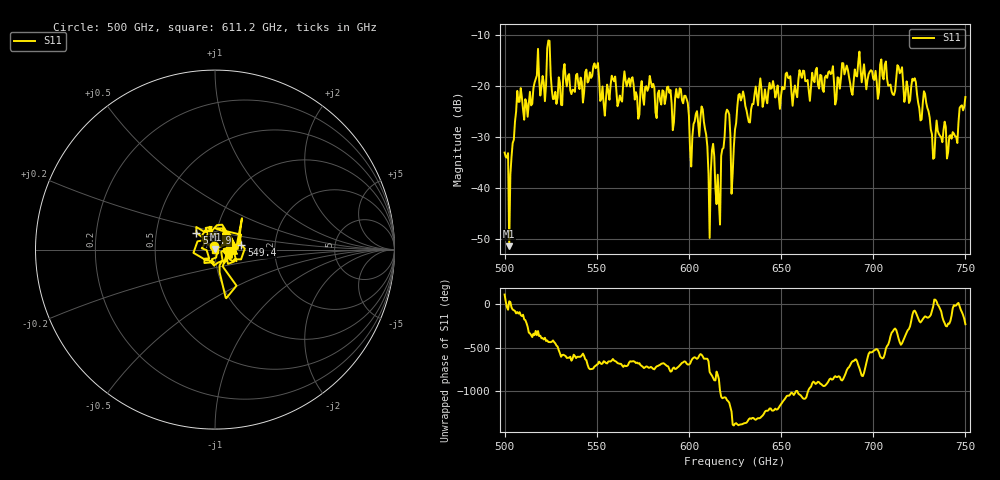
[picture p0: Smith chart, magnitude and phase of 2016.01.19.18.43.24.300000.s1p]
!Created with skrf (http://scikit-rf.org).
# GHz S RI R 50.0
!freq ReS11 ImS11
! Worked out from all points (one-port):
!   401 points, 500 GHz to 750 GHz, reference 50 ohm
!   lowest |S11| = -51.3 dB at 502.5 GHz (marker M1), VSWR 1.01, Z = 50.2 + j0.137 ohm
!   |S11| at or under -10 dB: start of sweep to end of sweep
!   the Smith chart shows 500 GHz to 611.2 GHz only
!   S11 on the Smith chart (normalised r, x): 500 GHz: 0.99, +0.04; 531.9 GHz: 0.80, +0.15; 549.4 GHz: 1.34, +0.07; 611.2 GHz: 1.00, -0.01
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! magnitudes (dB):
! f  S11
! 500 GHz  -33.0
! 502.5 GHz  -51.3
! 508.1 GHz  -23.1
! 520.6 GHz  -18.1
! 523.8 GHz  -11.1
! 526.9 GHz  -22.5
! 531.2 GHz  -23.8
! 531.9 GHz  -17.1
! 549.4 GHz  -16.5
! 553.1 GHz  -20.1
! 562.5 GHz  -21.9
! 593.8 GHz  -22.2
! 601.9 GHz  -29.9
! 607.5 GHz  -24.6
! 611.2 GHz  -49.7
! 613.1 GHz  -31.3
! 615.6 GHz  -37.4
! 620.6 GHz  -24.6
! 623.8 GHz  -37.0
! 625 GHz  -28.5
! 628.1 GHz  -22.8
! 656.2 GHz  -23.9
! 687.5 GHz  -19.5
! 714.4 GHz  -17.5
! 718.8 GHz  -20.3
! 728.8 GHz  -23.3
! 732.5 GHz  -34.2
! 750 GHz  -22.2
